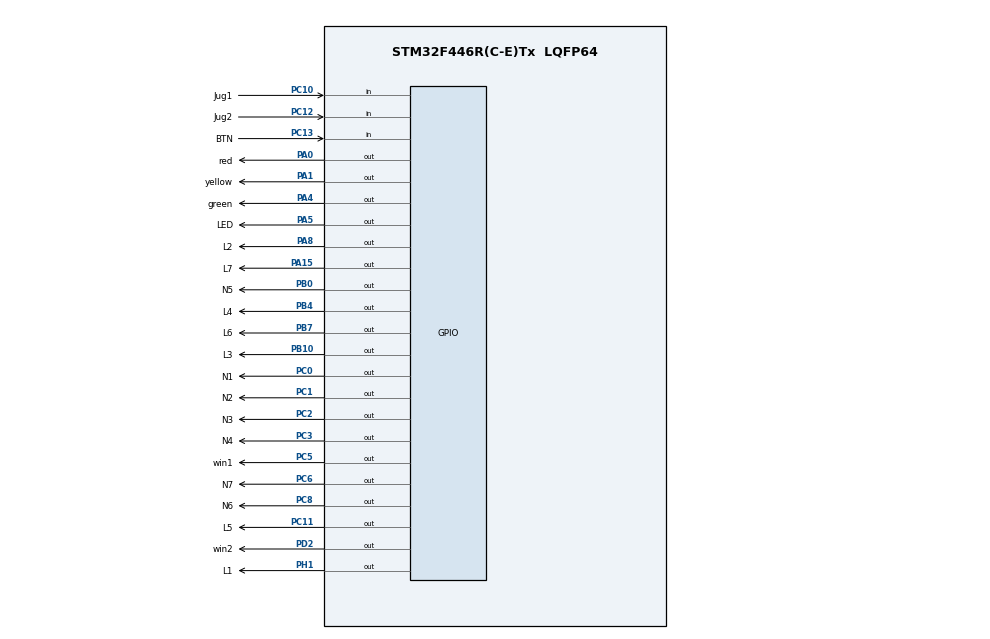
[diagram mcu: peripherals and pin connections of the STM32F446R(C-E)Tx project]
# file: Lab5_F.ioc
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Mcu.Family=STM32F4
Mcu.Name=STM32F446R(C-E)Tx
Mcu.Package=LQFP64
NVIC.PriorityGroup=NVIC_PRIORITYGROUP_4
PA0-WKUP.GPIO_Label=red
PA0-WKUP.Signal=GPIO_Output
PA1.GPIO_Label=yellow
PA1.Signal=GPIO_Output
PA13.Mode=Serial_Wire
PA13.Signal=SYS_JTMS-SWDIO
PA14.Mode=Serial_Wire
PA14.Signal=SYS_JTCK-SWCLK
PA15.GPIO_Label=L7
PA15.Signal=GPIO_Output
PA4.GPIO_Label=green
PA4.Signal=GPIO_Output
PA5.GPIO_Label=LED
PA5.Signal=GPIO_Output
PA8.GPIO_Label=L2
PA8.Signal=GPIO_Output
PB0.GPIO_Label=N5
PB0.Signal=GPIO_Output
PB10.GPIO_Label=L3
PB10.Signal=GPIO_Output
PB4.GPIO_Label=L4
PB4.Signal=GPIO_Output
PB7.GPIO_Label=L6
PB7.Signal=GPIO_Output
PC0.GPIO_Label=N1
PC0.Signal=GPIO_Output
PC1.GPIO_Label=N2
PC1.Signal=GPIO_Output
PC10.GPIO_Label=Jug1
PC10.GPIO_PuPd=GPIO_PULLUP
PC10.Signal=GPIO_Input
PC11.GPIO_Label=L5
PC11.Signal=GPIO_Output
PC12.GPIO_Label=Jug2
PC12.GPIO_PuPd=GPIO_PULLUP
PC12.Signal=GPIO_Input
PC13.GPIO_Label=BTN
PC13.Signal=GPIO_Input
PC2.GPIO_Label=N3
PC2.Signal=GPIO_Output
PC3.GPIO_Label=N4
PC3.Signal=GPIO_Output
PC5.GPIO_Label=win1
PC5.Signal=GPIO_Output
PC6.GPIO_Label=N7
PC6.Signal=GPIO_Output
PC8.GPIO_Label=N6
PC8.Signal=GPIO_Output
PD2.GPIO_Label=win2
PD2.Signal=GPIO_Output
PH1-OSC_OUT.GPIO_Label=L1
PH1-OSC_OUT.Signal=GPIO_Output
ProjectManager.HeapSize=0x200
ProjectManager.StackSize=0x400
ProjectManager.TargetToolchain=STM32CubeIDE
RCC.CortexFreq_Value=16000000
RCC.USBFreq_Value=96000000
RCC.VCOOutputFreq_Value=192000000
board=custom

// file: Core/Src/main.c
/* USER CODE BEGIN Header */
/**
  ******************************************************************************
  * @file           : main.c
  * @brief          : Main program body
  ******************************************************************************
  * @attention
  *
  * Copyright (c) 2024 STMicroelectronics.
  * All rights reserved.
  *
  * This software is licensed under terms that can be found in the LICENSE file
  * in the root directory of this software component.
  * If no LICENSE file comes with this software, it is provided AS-IS.
  *
  ******************************************************************************
  */
/* USER CODE END Header */
#include "main.h"

/* USER CODE BEGIN PV */
uint8_t contador = 0;
uint8_t start = 0;
uint8_t jug1 = 0;
uint8_t jug2 = 0;
uint8_t winner1 = 0;
uint8_t winner2 = 0;
/* USER CODE END PV */

void SystemClock_Config(void);
static void MX_GPIO_Init(void);

int main(void)
{

  /* MCU Configuration--------------------------------------------------------*/

  /* Reset of all peripherals, Initializes the Flash interface and the Systick. */
  HAL_Init();

  /* Configure the system clock */
  SystemClock_Config();

  /* Initialize all configured peripherals */
  MX_GPIO_Init();

  /* Infinite loop */
  /* USER CODE BEGIN WHILE */
  while (1)
  {
	  if(HAL_GPIO_ReadPin(BTN_GPIO_Port, BTN_Pin)== 0){
		  contador = contador + 1;

	  }

	  if(contador == 1){
		  HAL_GPIO_WritePin(red_GPIO_Port, red_Pin, GPIO_PIN_SET);
		  HAL_Delay(1000);
		  HAL_GPIO_WritePin(yellow_GPIO_Port, yellow_Pin, GPIO_PIN_SET);
		  HAL_Delay(1000);
		  HAL_GPIO_WritePin(green_GPIO_Port, green_Pin, GPIO_PIN_SET);
		  HAL_Delay(1000);
		  contador = 0;
		  start = 1;
		  jug1 = 0;
		  jug2 = 0;
		  winner1 = 0;
		  winner2 = 0;
	  }else if (contador == 0){
		  HAL_GPIO_WritePin(red_GPIO_Port, red_Pin, GPIO_PIN_RESET);
		  HAL_GPIO_WritePin(yellow_GPIO_Port, yellow_Pin, GPIO_PIN_RESET);

	  }
	  if(start == 1){
		  if(HAL_GPIO_ReadPin(Jug1_GPIO_Port, Jug1_Pin)== 0){
			  jug1++;
		  }
		  if(HAL_GPIO_ReadPin(Jug2_GPIO_Port, Jug2_Pin)== 0){
			  //jug2 = jug2 + 1;
			  jug2++;
		  }
	  }

	  switch(jug1){
	  	  case (0): //0
	  			  HAL_GPIO_WritePin(N1_GPIO_Port, N1_Pin, GPIO_PIN_RESET);
	  	  	  	  HAL_GPIO_WritePin(N2_GPIO_Port, N2_Pin, GPIO_PIN_RESET);
	  	  	  	  HAL_GPIO_WritePin(N3_GPIO_Port, N3_Pin, GPIO_PIN_RESET);
	  	  	  	  HAL_GPIO_WritePin(N4_GPIO_Port, N4_Pin, GPIO_PIN_RESET);
	  	  	      HAL_GPIO_WritePin(N5_GPIO_Port, N5_Pin, GPIO_PIN_RESET);
	  	  	      HAL_GPIO_WritePin(N6_GPIO_Port, N6_Pin, GPIO_PIN_RESET);
	  	  	  	  HAL_GPIO_WritePin(win1_GPIO_Port, win1_Pin, GPIO_PIN_RESET);
	  	  	  	  HAL_GPIO_WritePin(N7_GPIO_Port, N7_Pin, GPIO_PIN_RESET);
				  break;
		  case(1): //1
		  	  	  HAL_GPIO_WritePin(N1_GPIO_Port, N1_Pin, GPIO_PIN_SET);
		  	  	  HAL_Delay(120);
		  	  	  break;
		  case(2): //2
				  HAL_GPIO_WritePin(N1_GPIO_Port, N1_Pin, GPIO_PIN_RESET);
				  HAL_GPIO_WritePin(N2_GPIO_Port, N2_Pin, GPIO_PIN_SET);
				  HAL_Delay(120);
				  break;
		  case(3): //4
		    	  HAL_GPIO_WritePin(N2_GPIO_Port, N2_Pin, GPIO_PIN_RESET);
		          HAL_GPIO_WritePin(N3_GPIO_Port, N3_Pin, GPIO_PIN_SET);
		          HAL_Delay(120);
				  break;
		  case(4): //8
				  HAL_GPIO_WritePin(N3_GPIO_Port, N3_Pin, GPIO_PIN_RESET);
				  HAL_GPIO_WritePin(N4_GPIO_Port, N4_Pin, GPIO_PIN_SET);
				  HAL_Delay(120);
				  break;
		  case(5): //16
				  HAL_GPIO_WritePin(N4_GPIO_Port, N4_Pin, GPIO_PIN_RESET);
				  HAL_GPIO_WritePin(N5_GPIO_Port, N5_Pin, GPIO_PIN_SET);
				  HAL_Delay(120);
				  break;
		  case(6): //32
		          HAL_GPIO_WritePin(N5_GPIO_Port, N5_Pin, GPIO_PIN_RESET);
				  HAL_GPIO_WritePin(N6_GPIO_Port, N6_Pin, GPIO_PIN_SET);
				  HAL_Delay(120);
				  break;
		  case(7): //64
				  HAL_GPIO_WritePin(N6_GPIO_Port, N6_Pin, GPIO_PIN_RESET);
				  HAL_GPIO_WritePin(N7_GPIO_Port, N7_Pin, GPIO_PIN_SET);
				  HAL_Delay(120);
				  break;
		  case(8): //128
				  HAL_GPIO_WritePin(N6_GPIO_Port, N6_Pin, GPIO_PIN_RESET);
				  HAL_GPIO_WritePin(N7_GPIO_Port, N7_Pin, GPIO_PIN_SET);
				  winner1 = 1;
				  HAL_Delay(120);
				  break;
		  default:
			  break;
	  }
	  switch(jug2){
	  	  	  case (0): //0
	  	  			  HAL_GPIO_WritePin(L1_GPIO_Port, L1_Pin, GPIO_PIN_RESET);
	  	  	  	  	  HAL_GPIO_WritePin(L2_GPIO_Port, L2_Pin, GPIO_PIN_RESET);
	  	  	  	  	  HAL_GPIO_WritePin(L3_GPIO_Port, L3_Pin, GPIO_PIN_RESET);
	  	  	  	  	  HAL_GPIO_WritePin(L4_GPIO_Port, L4_Pin, GPIO_PIN_RESET);
	  	  	  	      HAL_GPIO_WritePin(L5_GPIO_Port, L5_Pin, GPIO_PIN_RESET);
	  	  	  	      HAL_GPIO_WritePin(L6_GPIO_Port, L6_Pin, GPIO_PIN_RESET);
	  	  	  	  	  HAL_GPIO_WritePin(win2_GPIO_Port, win2_Pin, GPIO_PIN_RESET);
	  	  	  	  	  HAL_GPIO_WritePin(L7_GPIO_Port, L7_Pin, GPIO_PIN_RESET);
	  				  break;
	  		  case(1): //1
	  		  	  	  HAL_GPIO_WritePin(L1_GPIO_Port, L1_Pin, GPIO_PIN_SET);
	  		  	  	  HAL_Delay(100);
	  		  	  	  break;
	  		  case(2): //2
	  				  HAL_GPIO_WritePin(L1_GPIO_Port, L1_Pin, GPIO_PIN_RESET);
	  				  HAL_GPIO_WritePin(L2_GPIO_Port, L2_Pin, GPIO_PIN_SET);
	  				  HAL_Delay(100);
	  				  break;
	  		  case(3): //4
	  		    	  HAL_GPIO_WritePin(L2_GPIO_Port, L2_Pin, GPIO_PIN_RESET);
	  		          HAL_GPIO_WritePin(L3_GPIO_Port, L3_Pin, GPIO_PIN_SET);
	  		          HAL_Delay(100);
	  				  break;
	  		  case(4): //8
	  				  HAL_GPIO_WritePin(L3_GPIO_Port, L3_Pin, GPIO_PIN_RESET);
	  				  HAL_GPIO_WritePin(L4_GPIO_Port, L4_Pin, GPIO_PIN_SET);
	  				  HAL_Delay(100);
	  				  break;
	  		  case(5): //16
	  				  HAL_GPIO_WritePin(L4_GPIO_Port, L4_Pin, GPIO_PIN_RESET);
	  				  HAL_GPIO_WritePin(L5_GPIO_Port, L5_Pin, GPIO_PIN_SET);
	  				  HAL_Delay(100);
	  				  break;
	  		  case(6): //32
	  		          HAL_GPIO_WritePin(L5_GPIO_Port, L5_Pin, GPIO_PIN_RESET);
	  				  HAL_GPIO_WritePin(L6_GPIO_Port, L6_Pin, GPIO_PIN_SET);
	  				  HAL_Delay(100);
	  				  break;
	  		  case(7): //64
	  				  HAL_GPIO_WritePin(L6_GPIO_Port, L6_Pin, GPIO_PIN_RESET);
	  				  HAL_GPIO_WritePin(L7_GPIO_Port, L7_Pin, GPIO_PIN_SET);
	  				  HAL_Delay(100);
	  				  break;
	  		  case(8): //128
	  				  HAL_GPIO_WritePin(L6_GPIO_Port, L6_Pin, GPIO_PIN_RESET);
	  				  HAL_GPIO_WritePin(L7_GPIO_Port, L7_Pin, GPIO_PIN_SET);
	  				  winner2 = 1;
	  				  HAL_Delay(100);
	  				  break;
	  		  default:
	  			  break;
	  	  }
	  if(winner2 == 1){
		  HAL_GPIO_WritePin(win2_GPIO_Port, win2_Pin, GPIO_PIN_SET);
		  start = 0;
	  }
	  if(winner1 == 1){
		  HAL_GPIO_WritePin(win1_GPIO_Port, win1_Pin, GPIO_PIN_SET);
		  start = 0;
	  }
    /* USER CODE END WHILE */

  }
}

void SystemClock_Config(void)
{
  RCC_OscInitTypeDef RCC_OscInitStruct = {0};
  RCC_ClkInitTypeDef RCC_ClkInitStruct = {0};

  /** Configure the main internal regulator output voltage
  */
  __HAL_RCC_PWR_CLK_ENABLE();
  __HAL_PWR_VOLTAGESCALING_CONFIG(PWR_REGULATOR_VOLTAGE_SCALE3);

  /** Initializes the RCC Oscillators according to the specified parameters
  * in the RCC_OscInitTypeDef structure.
  */
  RCC_OscInitStruct.OscillatorType = RCC_OSCILLATORTYPE_HSI;
  RCC_OscInitStruct.HSIState = RCC_HSI_ON;
  RCC_OscInitStruct.HSICalibrationValue = RCC_HSICALIBRATION_DEFAULT;
  RCC_OscInitStruct.PLL.PLLState = RCC_PLL_NONE;
  if (HAL_RCC_OscConfig(&RCC_OscInitStruct) != HAL_OK)
  {
    Error_Handler();
  }

  /** Initializes the CPU, AHB and APB buses clocks
  */
  RCC_ClkInitStruct.ClockType = RCC_CLOCKTYPE_HCLK|RCC_CLOCKTYPE_SYSCLK
                              |RCC_CLOCKTYPE_PCLK1|RCC_CLOCKTYPE_PCLK2;
  RCC_ClkInitStruct.SYSCLKSource = RCC_SYSCLKSOURCE_HSI;
  RCC_ClkInitStruct.AHBCLKDivider = RCC_SYSCLK_DIV1;
  RCC_ClkInitStruct.APB1CLKDivider = RCC_HCLK_DIV1;
  RCC_ClkInitStruct.APB2CLKDivider = RCC_HCLK_DIV1;

  if (HAL_RCC_ClockConfig(&RCC_ClkInitStruct, FLASH_LATENCY_0) != HAL_OK)
  {
    Error_Handler();
  }
}

static void MX_GPIO_Init(void)
{
  GPIO_InitTypeDef GPIO_InitStruct = {0};

  /* GPIO Ports Clock Enable */
  __HAL_RCC_GPIOC_CLK_ENABLE();
  __HAL_RCC_GPIOH_CLK_ENABLE();
  __HAL_RCC_GPIOA_CLK_ENABLE();
  __HAL_RCC_GPIOB_CLK_ENABLE();
  __HAL_RCC_GPIOD_CLK_ENABLE();

  /*Configure GPIO pin Output Level */
  HAL_GPIO_WritePin(L1_GPIO_Port, L1_Pin, GPIO_PIN_RESET);

  /*Configure GPIO pin Output Level */
  HAL_GPIO_WritePin(GPIOC, N1_Pin|N2_Pin|N3_Pin|N4_Pin
                          |win1_Pin|N7_Pin|N6_Pin|L5_Pin, GPIO_PIN_RESET);

  /*Configure GPIO pin Output Level */
  HAL_GPIO_WritePin(GPIOA, red_Pin|yellow_Pin|green_Pin|LED_Pin
                          |L2_Pin|L7_Pin, GPIO_PIN_RESET);

  /*Configure GPIO pin Output Level */
  HAL_GPIO_WritePin(GPIOB, N5_Pin|L3_Pin|L4_Pin|L6_Pin, GPIO_PIN_RESET);

  /*Configure GPIO pin Output Level */
  HAL_GPIO_WritePin(win2_GPIO_Port, win2_Pin, GPIO_PIN_RESET);

  /*Configure GPIO pin : BTN_Pin */
  GPIO_InitStruct.Pin = BTN_Pin;
  GPIO_InitStruct.Mode = GPIO_MODE_INPUT;
  GPIO_InitStruct.Pull = GPIO_NOPULL;
  HAL_GPIO_Init(BTN_GPIO_Port, &GPIO_InitStruct);

  /*Configure GPIO pin : L1_Pin */
  GPIO_InitStruct.Pin = L1_Pin;
  GPIO_InitStruct.Mode = GPIO_MODE_OUTPUT_PP;
  GPIO_InitStruct.Pull = GPIO_NOPULL;
  GPIO_InitStruct.Speed = GPIO_SPEED_FREQ_LOW;
  HAL_GPIO_Init(L1_GPIO_Port, &GPIO_InitStruct);

  /*Configure GPIO pins : N1_Pin N2_Pin N3_Pin N4_Pin
                           win1_Pin N7_Pin N6_Pin L5_Pin */
  GPIO_InitStruct.Pin = N1_Pin|N2_Pin|N3_Pin|N4_Pin
                          |win1_Pin|N7_Pin|N6_Pin|L5_Pin;
  GPIO_InitStruct.Mode = GPIO_MODE_OUTPUT_PP;
  GPIO_InitStruct.Pull = GPIO_NOPULL;
  GPIO_InitStruct.Speed = GPIO_SPEED_FREQ_LOW;
  HAL_GPIO_Init(GPIOC, &GPIO_InitStruct);

  /*Configure GPIO pins : red_Pin yellow_Pin green_Pin LED_Pin
                           L2_Pin L7_Pin */
  GPIO_InitStruct.Pin = red_Pin|yellow_Pin|green_Pin|LED_Pin
                          |L2_Pin|L7_Pin;
  GPIO_InitStruct.Mode = GPIO_MODE_OUTPUT_PP;
  GPIO_InitStruct.Pull = GPIO_NOPULL;
  GPIO_InitStruct.Speed = GPIO_SPEED_FREQ_LOW;
  HAL_GPIO_Init(GPIOA, &GPIO_InitStruct);

  /*Configure GPIO pins : N5_Pin L3_Pin L4_Pin L6_Pin */
  GPIO_InitStruct.Pin = N5_Pin|L3_Pin|L4_Pin|L6_Pin;
  GPIO_InitStruct.Mode = GPIO_MODE_OUTPUT_PP;
  GPIO_InitStruct.Pull = GPIO_NOPULL;
  GPIO_InitStruct.Speed = GPIO_SPEED_FREQ_LOW;
  HAL_GPIO_Init(GPIOB, &GPIO_InitStruct);

  /*Configure GPIO pins : Jug1_Pin Jug2_Pin */
  GPIO_InitStruct.Pin = Jug1_Pin|Jug2_Pin;
  GPIO_InitStruct.Mode = GPIO_MODE_INPUT;
  GPIO_InitStruct.Pull = GPIO_PULLUP;
  HAL_GPIO_Init(GPIOC, &GPIO_InitStruct);

  /*Configure GPIO pin : win2_Pin */
  GPIO_InitStruct.Pin = win2_Pin;
  GPIO_InitStruct.Mode = GPIO_MODE_OUTPUT_PP;
  GPIO_InitStruct.Pull = GPIO_NOPULL;
  GPIO_InitStruct.Speed = GPIO_SPEED_FREQ_LOW;
  HAL_GPIO_Init(win2_GPIO_Port, &GPIO_InitStruct);

}

void Error_Handler(void)
{
  __disable_irq();
  while (1)
  {
  }
}
